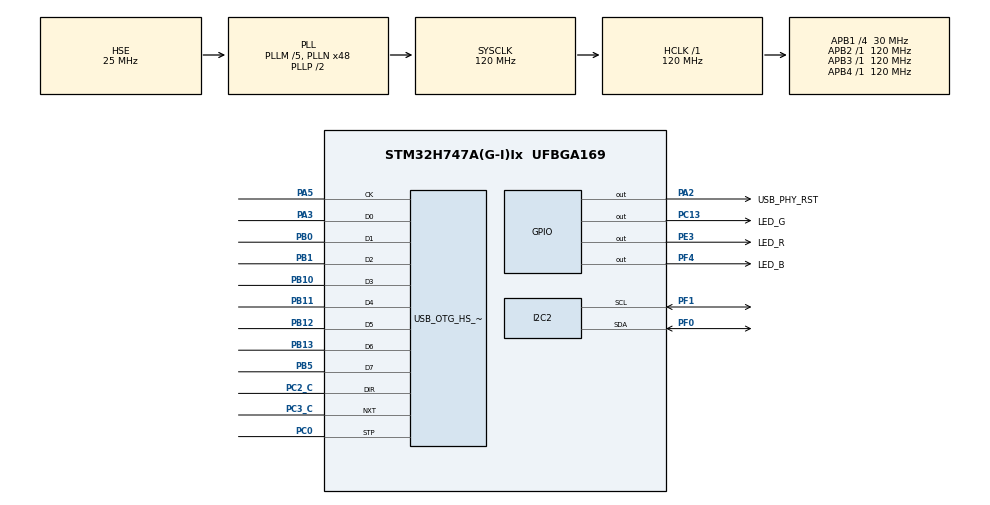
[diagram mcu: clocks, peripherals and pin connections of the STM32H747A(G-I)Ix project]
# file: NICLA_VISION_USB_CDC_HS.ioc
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CORTEX_M7.CPU_DCache=Disabled
CORTEX_M7.CPU_ICache=Disabled
CORTEX_M7.MPU_Control=__NULL
CORTEX_M7.default_mode_Activation=1
CortexM4.IPs=BDMA,CORTEX_M4\:I,DEBUG,DMA,FATFS_M4\:I,FREERTOS_M4\:I,GPIO,IWDG2\:I,MDMA,NVIC2\:I,OPENAMP_M4\:I,PDM2PCM_M4\:I,PWR,RCC,RESMGR_UTILITY,SYS_M4\:I,USB_DEVICE_M4\:I,USB_HOST_M4\:I,VREFBUF,WWDG2\:I
CortexM7.IPs=BDMA\:I,CORTEX_M7\:I,DEBUG\:I,DMA\:I,FATFS_M7\:I,FREERTOS_M7\:I,GPIO\:I,IWDG1\:I,MDMA\:I,NVIC1\:I,OPENAMP_M7\:I,PDM2PCM_M7\:I,PWR\:I,RCC\:I,RESMGR_UTILITY\:I,SYS\:I,USB_DEVICE_M7\:I,USB_HOST_M7\:I,VREFBUF\:I,WWDG1\:I,I2C2\:I,USB_OTG_HS\:I
CortexM7.Pins=PE3,PC13,PF4,PA2
I2C2.Timing=0x007074AF
Mcu.Family=STM32H7
Mcu.Name=STM32H747A(G-I)Ix
Mcu.Package=UFBGA169
NVIC1.OTG_HS_IRQn=true\:0\:0\:false\:false\:true\:false\:true\:true
NVIC1.PriorityGroup=NVIC_PRIORITYGROUP_4
NVIC2.PriorityGroup=NVIC_PRIORITYGROUP_4
PA13\ (JTMS/SWDIO).Mode=Serial_Wire
PA13\ (JTMS/SWDIO).PinAttribute=CortexM7
PA13\ (JTMS/SWDIO).Signal=DEBUG_JTMS-SWDIO
PA14\ (JTCK/SWCLK).Mode=Serial_Wire
PA14\ (JTCK/SWCLK).PinAttribute=CortexM7
PA14\ (JTCK/SWCLK).Signal=DEBUG_JTCK-SWCLK
PA2.GPIO_Label=USB_PHY_RST
PA2.GPIO_PuPd=GPIO_PULLDOWN
PA2.PinAttribute=CortexM7
PA2.PinState=GPIO_PIN_RESET
PA2.Signal=GPIO_Output
PA3.Mode=Device_HS
PA3.PinAttribute=CortexM7
PA3.Signal=USB_OTG_HS_ULPI_D0
PA5.Mode=Device_HS
PA5.PinAttribute=CortexM7
PA5.Signal=USB_OTG_HS_ULPI_CK
PB0.Mode=Device_HS
PB0.PinAttribute=CortexM7
PB0.Signal=USB_OTG_HS_ULPI_D1
PB1.Mode=Device_HS
PB1.PinAttribute=CortexM7
PB1.Signal=USB_OTG_HS_ULPI_D2
PB10.Mode=Device_HS
PB10.PinAttribute=CortexM7
PB10.Signal=USB_OTG_HS_ULPI_D3
PB11.Mode=Device_HS
PB11.PinAttribute=CortexM7
PB11.Signal=USB_OTG_HS_ULPI_D4
PB12.Mode=Device_HS
PB12.PinAttribute=CortexM7
PB12.Signal=USB_OTG_HS_ULPI_D5
PB13.Mode=Device_HS
PB13.PinAttribute=CortexM7
PB13.Signal=USB_OTG_HS_ULPI_D6
PB5.Mode=Device_HS
PB5.PinAttribute=CortexM7
PB5.Signal=USB_OTG_HS_ULPI_D7
PC0.Mode=Device_HS
PC0.PinAttribute=CortexM7
PC0.Signal=USB_OTG_HS_ULPI_STP
PC13.GPIO_Label=LED_G
PC13.PinAttribute=CortexM7
PC13.PinState=GPIO_PIN_SET
PC13.Signal=GPIO_Output
PC2_C.Mode=Device_HS
PC2_C.PinAttribute=CortexM7
PC2_C.Signal=USB_OTG_HS_ULPI_DIR
PC3_C.Mode=Device_HS
PC3_C.PinAttribute=CortexM7
PC3_C.Signal=USB_OTG_HS_ULPI_NXT
PE3.GPIO_Label=LED_R
PE3.PinAttribute=CortexM7
PE3.PinState=GPIO_PIN_SET
PE3.Signal=GPIO_Output
PF0.Mode=I2C
PF0.PinAttribute=CortexM7
PF0.Signal=I2C2_SDA
PF1.Mode=I2C
PF1.PinAttribute=CortexM7
PF1.Signal=I2C2_SCL
PF4.GPIO_Label=LED_B
PF4.PinAttribute=CortexM7
PF4.PinState=GPIO_PIN_SET
PF4.Signal=GPIO_Output
PH0-OSC_IN\ (PH0).Mode=HSE-External-Clock-Source
PH0-OSC_IN\ (PH0).PinAttribute=Free
PH0-OSC_IN\ (PH0).Signal=RCC_OSC_IN
ProjectManager.HeapSize=M4-0x200,M7-0x200
ProjectManager.StackSize=M4-0x400,M7-0x400
ProjectManager.TargetToolchain=STM32CubeIDE
RCC.ADCFreq_Value=50390625
RCC.APB1Freq_Value=30000000
RCC.APB2Freq_Value=120000000
RCC.APB3Freq_Value=120000000
RCC.APB4Freq_Value=120000000
RCC.CortexFreq_Value=120000000
RCC.D2PPRE1=RCC_APB1_DIV4
RCC.DIVM1=5
RCC.DIVN1=48
RCC.DIVQ1=5
RCC.HCLKFreq_Value=120000000
RCC.PLLFRACN=0
RCC.PLLSourceVirtual=RCC_PLLSOURCE_HSE
RCC.PWR_Regulator_Voltage_Scale=PWR_REGULATOR_VOLTAGE_SCALE0
RCC.SYSCLKFreq_VALUE=120000000
RCC.SYSCLKSource=RCC_SYSCLKSOURCE_PLLCLK
RCC.SupplySource=PWR_LDO_SUPPLY
RCC.USBFreq_Value=48000000
RCC.VDD_VALUE=1.8
SYS.userName=SYS_M7
USB_DEVICE_M7.CLASS_NAME_HS=CDC
USB_DEVICE_M7.VirtualMode-CDC_HS=Cdc
USB_DEVICE_M7.VirtualModeHS=Cdc_HS
USB_OTG_HS.DeviceSpeed-Device_HS=PCD_SPEED_FULL
USB_OTG_HS.VirtualMode-Device_HS=Device_HS
VP_SYS_M4_VS_Systick.Mode=SysTick
VP_USB_DEVICE_M7_VS_USB_DEVICE_CDC_HS.Mode=CDC_HS
board=custom

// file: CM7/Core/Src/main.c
/* USER CODE BEGIN Header */
/**
  ******************************************************************************
  * @file           : main.c
  * @brief          : Main program body
  ******************************************************************************
  * @attention
  *
  * Copyright (c) 2024 STMicroelectronics.
  * All rights reserved.
  *
  * This software is licensed under terms that can be found in the LICENSE file
  * in the root directory of this software component.
  * If no LICENSE file comes with this software, it is provided AS-IS.
  *
  ******************************************************************************
  */
/* USER CODE END Header */
#include "main.h"
#include "usb_device.h"

/* USER CODE BEGIN Includes */
#include "usbd_cdc_if.h"
/* USER CODE END Includes */

/* USER CODE BEGIN PD */

/* Start of the CM4 image in flash (must match CM4/STM32H747AIIX_FLASH.ld) */
#define CM4_IMAGE_ADDRESS    0x08100000U

#ifndef HSEM_ID_0
#define HSEM_ID_0 (0U) /* HW semaphore 0*/
#endif

/* USER CODE END PD */

I2C_HandleTypeDef hi2c2;

/* USER CODE BEGIN PV */
static uint8_t tx_buffer[1000];
/* USER CODE END PV */

void SystemClock_Config(void);
static void MX_GPIO_Init(void);
static void MX_I2C2_Init(void);
/* USER CODE BEGIN PFP */
static void tx_comusb( uint8_t *tx_buffer, uint16_t len );
static void Bootloader_Handoff(void);
static void Disable_Caches(void);
/* USER CODE END PFP */

int main(void)
{

  /* USER CODE BEGIN 1 */

  Bootloader_Handoff();

  // Release the M4 (it is held off by the option bytes), pointing it at its image
  __HAL_RCC_SYSCFG_CLK_ENABLE();
  HAL_SYSCFG_CM4BootAddConfig(SYSCFG_BOOT_ADDR0, CM4_IMAGE_ADDRESS);

  // Boot up the M4 core as is set to have it off by default using fuses
  HAL_RCCEx_EnableBootCore(RCC_BOOT_C2);

  /* USER CODE END 1 */
/* USER CODE BEGIN Boot_Mode_Sequence_0 */
  int32_t timeout;
/* USER CODE END Boot_Mode_Sequence_0 */

/* USER CODE BEGIN Boot_Mode_Sequence_1 */
  /* Wait until CPU2 boots and enters in stop mode or timeout*/
  timeout = 0xFFFF;
  while((__HAL_RCC_GET_FLAG(RCC_FLAG_D2CKRDY) != RESET) && (timeout-- > 0));
  if ( timeout < 0 )
  {
  Error_Handler();
  }
/* USER CODE END Boot_Mode_Sequence_1 */
  /* MCU Configuration--------------------------------------------------------*/

  /* Reset of all peripherals, Initializes the Flash interface and the Systick. */
  HAL_Init();

  /* USER CODE BEGIN Init */

  /* Enable the NICLA Vision oscillator pin */
  __HAL_RCC_GPIOH_CLK_ENABLE();
  GPIO_InitTypeDef  gpio_osc_init_structure;
  gpio_osc_init_structure.Pin = GPIO_PIN_1;
  gpio_osc_init_structure.Mode = GPIO_MODE_OUTPUT_PP;
  gpio_osc_init_structure.Pull = GPIO_PULLUP;
  gpio_osc_init_structure.Speed = GPIO_SPEED_FREQ_LOW;
  HAL_GPIO_Init(GPIOH, &gpio_osc_init_structure);
  HAL_Delay(10);
  HAL_GPIO_WritePin(GPIOH, GPIO_PIN_1, 1);

  /* USER CODE END Init */

  /* Configure the system clock */
  SystemClock_Config();
/* USER CODE BEGIN Boot_Mode_Sequence_2 */
/* When system initialization is finished, Cortex-M7 will release Cortex-M4 by means of
HSEM notification */
/*HW semaphore Clock enable*/
__HAL_RCC_HSEM_CLK_ENABLE();
/*Take HSEM */
HAL_HSEM_FastTake(HSEM_ID_0);
/*Release HSEM in order to notify the CPU2(CM4)*/
HAL_HSEM_Release(HSEM_ID_0,0);
/* wait until CPU2 wakes up from stop mode */
timeout = 0xFFFF;
while((__HAL_RCC_GET_FLAG(RCC_FLAG_D2CKRDY) == RESET) && (timeout-- > 0));
if ( timeout < 0 )
{
Error_Handler();
}
/* USER CODE END Boot_Mode_Sequence_2 */

  /* Initialize all configured peripherals */
  MX_GPIO_Init();
  MX_I2C2_Init();
  //MX_USB_DEVICE_Init();
  /* USER CODE BEGIN 2 */

  /* Setup power supply rails
   * This part enables all required rails on the power management module via I2C*/
  uint8_t data[2];

  // Charger LED Driver Enable controlled via software
  data[0]=0x9c;
  data[1]=0x80;
  HAL_I2C_Master_Transmit(&hi2c2, 0x08 << 1, data, sizeof(data), 100);

  // Charger LED Driver Enable controlled via software
  data[0]=0x9e;
  data[1]=0x20;
  HAL_I2C_Master_Transmit(&hi2c2, 0x08 << 1, data, sizeof(data), 100);

  // SW3 current limit at 1.5A
  data[0]=0x42;
  data[1]=0x02;
  HAL_I2C_Master_Transmit(&hi2c2, 0x08 << 1, data, sizeof(data), 100);

  // VBUS current limit at 1.5A
  data[0]=0x94;
  data[1]=0xa0;
  HAL_I2C_Master_Transmit(&hi2c2, 0x08 << 1, data, sizeof(data), 100);

  // LDO1
  data[0] = 0x4d;
  data[1] = 0x01;
  HAL_I2C_Master_Transmit(&hi2c2, 0x08 << 1, data, sizeof(data), 100);

  // LDO2
  data[0] = 0x50;
  data[1] = 0x01;
  HAL_I2C_Master_Transmit(&hi2c2, 0x08 << 1, data, sizeof(data), 100);

  // LDO3 to 1.2V
  data[0] = 0x53;
  data[1] = 0x01;
  HAL_I2C_Master_Transmit(&hi2c2, 0x08 << 1, data, sizeof(data), 100);

  // SW2
  data[0] = 0x3b;
  data[1] = 0x81;
  HAL_I2C_Master_Transmit(&hi2c2, 0x08 << 1, data, sizeof(data),100);

  // wait for the power lines to settle
  HAL_Delay(250);

  /* Enable USB PHY pin */
  HAL_GPIO_WritePin(USB_PHY_RST_GPIO_Port, USB_PHY_RST_Pin, SET);

  HAL_Delay(20);

  // Must be called only after 3.1V power supply has settled and the PA_2 is pulled high
  MX_USB_DEVICE_Init();

  /* USER CODE END 2 */

  /* Infinite loop */
  while (1)
  {

    /* USER CODE BEGIN 3 */
	sprintf((char *)tx_buffer, "Device Found! \r\n");
	tx_comusb(tx_buffer, strlen((char const *)tx_buffer));
	HAL_GPIO_TogglePin(LED_G_GPIO_Port, LED_G_Pin);
	HAL_Delay(1000);
  }
  /* USER CODE END 3 */
}

void SystemClock_Config(void)
{
  RCC_OscInitTypeDef RCC_OscInitStruct = {0};
  RCC_ClkInitTypeDef RCC_ClkInitStruct = {0};

  /** Supply configuration update enable
  */
  HAL_PWREx_ConfigSupply(PWR_LDO_SUPPLY);

  /** Configure the main internal regulator output voltage
  */
  __HAL_PWR_VOLTAGESCALING_CONFIG(PWR_REGULATOR_VOLTAGE_SCALE1);

  while(!__HAL_PWR_GET_FLAG(PWR_FLAG_VOSRDY)) {}

  __HAL_RCC_SYSCFG_CLK_ENABLE();
  __HAL_PWR_VOLTAGESCALING_CONFIG(PWR_REGULATOR_VOLTAGE_SCALE0);

  while(!__HAL_PWR_GET_FLAG(PWR_FLAG_VOSRDY)) {}

  /** Initializes the RCC Oscillators according to the specified parameters
  * in the RCC_OscInitTypeDef structure.
  */
  RCC_OscInitStruct.OscillatorType = RCC_OSCILLATORTYPE_HSE;
  RCC_OscInitStruct.HSEState = RCC_HSE_BYPASS;
  RCC_OscInitStruct.PLL.PLLState = RCC_PLL_ON;
  RCC_OscInitStruct.PLL.PLLSource = RCC_PLLSOURCE_HSE;
  RCC_OscInitStruct.PLL.PLLM = 5;
  RCC_OscInitStruct.PLL.PLLN = 48;
  RCC_OscInitStruct.PLL.PLLP = 2;
  RCC_OscInitStruct.PLL.PLLQ = 5;
  RCC_OscInitStruct.PLL.PLLR = 2;
  RCC_OscInitStruct.PLL.PLLRGE = RCC_PLL1VCIRANGE_2;
  RCC_OscInitStruct.PLL.PLLVCOSEL = RCC_PLL1VCOWIDE;
  RCC_OscInitStruct.PLL.PLLFRACN = 0;
  if (HAL_RCC_OscConfig(&RCC_OscInitStruct) != HAL_OK)
  {
    Error_Handler();
  }

  /** Initializes the CPU, AHB and APB buses clocks
  */
  RCC_ClkInitStruct.ClockType = RCC_CLOCKTYPE_HCLK|RCC_CLOCKTYPE_SYSCLK
                              |RCC_CLOCKTYPE_PCLK1|RCC_CLOCKTYPE_PCLK2
                              |RCC_CLOCKTYPE_D3PCLK1|RCC_CLOCKTYPE_D1PCLK1;
  RCC_ClkInitStruct.SYSCLKSource = RCC_SYSCLKSOURCE_PLLCLK;
  RCC_ClkInitStruct.SYSCLKDivider = RCC_SYSCLK_DIV1;
  RCC_ClkInitStruct.AHBCLKDivider = RCC_HCLK_DIV1;
  RCC_ClkInitStruct.APB3CLKDivider = RCC_APB3_DIV1;
  RCC_ClkInitStruct.APB1CLKDivider = RCC_APB1_DIV4;
  RCC_ClkInitStruct.APB2CLKDivider = RCC_APB2_DIV1;
  RCC_ClkInitStruct.APB4CLKDivider = RCC_APB4_DIV1;

  if (HAL_RCC_ClockConfig(&RCC_ClkInitStruct, FLASH_LATENCY_1) != HAL_OK)
  {
    Error_Handler();
  }
}

static void MX_I2C2_Init(void)
{

  hi2c2.Instance = I2C2;
  hi2c2.Init.Timing = 0x007074AF;
  hi2c2.Init.OwnAddress1 = 0;
  hi2c2.Init.AddressingMode = I2C_ADDRESSINGMODE_7BIT;
  hi2c2.Init.DualAddressMode = I2C_DUALADDRESS_DISABLE;
  hi2c2.Init.OwnAddress2 = 0;
  hi2c2.Init.OwnAddress2Masks = I2C_OA2_NOMASK;
  hi2c2.Init.GeneralCallMode = I2C_GENERALCALL_DISABLE;
  hi2c2.Init.NoStretchMode = I2C_NOSTRETCH_DISABLE;
  if (HAL_I2C_Init(&hi2c2) != HAL_OK)
  {
    Error_Handler();
  }

  /** Configure Analogue filter
  */
  if (HAL_I2CEx_ConfigAnalogFilter(&hi2c2, I2C_ANALOGFILTER_ENABLE) != HAL_OK)
  {
    Error_Handler();
  }

  /** Configure Digital filter
  */
  if (HAL_I2CEx_ConfigDigitalFilter(&hi2c2, 0) != HAL_OK)
  {
    Error_Handler();
  }

}

static void MX_GPIO_Init(void)
{
  GPIO_InitTypeDef GPIO_InitStruct = {0};

  /* GPIO Ports Clock Enable */
  __HAL_RCC_GPIOB_CLK_ENABLE();
  __HAL_RCC_GPIOA_CLK_ENABLE();
  __HAL_RCC_GPIOE_CLK_ENABLE();
  __HAL_RCC_GPIOC_CLK_ENABLE();
  __HAL_RCC_GPIOF_CLK_ENABLE();

  /*Configure GPIO pin Output Level */
  HAL_GPIO_WritePin(LED_R_GPIO_Port, LED_R_Pin, GPIO_PIN_SET);

  /*Configure GPIO pin Output Level */
  HAL_GPIO_WritePin(LED_G_GPIO_Port, LED_G_Pin, GPIO_PIN_SET);

  /*Configure GPIO pin Output Level */
  HAL_GPIO_WritePin(LED_B_GPIO_Port, LED_B_Pin, GPIO_PIN_SET);

  /*Configure GPIO pin Output Level */
  HAL_GPIO_WritePin(USB_PHY_RST_GPIO_Port, USB_PHY_RST_Pin, GPIO_PIN_RESET);

  /*Configure GPIO pin : LED_R_Pin */
  GPIO_InitStruct.Pin = LED_R_Pin;
  GPIO_InitStruct.Mode = GPIO_MODE_OUTPUT_PP;
  GPIO_InitStruct.Pull = GPIO_NOPULL;
  GPIO_InitStruct.Speed = GPIO_SPEED_FREQ_LOW;
  HAL_GPIO_Init(LED_R_GPIO_Port, &GPIO_InitStruct);

  /*Configure GPIO pin : LED_G_Pin */
  GPIO_InitStruct.Pin = LED_G_Pin;
  GPIO_InitStruct.Mode = GPIO_MODE_OUTPUT_PP;
  GPIO_InitStruct.Pull = GPIO_NOPULL;
  GPIO_InitStruct.Speed = GPIO_SPEED_FREQ_LOW;
  HAL_GPIO_Init(LED_G_GPIO_Port, &GPIO_InitStruct);

  /*Configure GPIO pin : LED_B_Pin */
  GPIO_InitStruct.Pin = LED_B_Pin;
  GPIO_InitStruct.Mode = GPIO_MODE_OUTPUT_PP;
  GPIO_InitStruct.Pull = GPIO_NOPULL;
  GPIO_InitStruct.Speed = GPIO_SPEED_FREQ_LOW;
  HAL_GPIO_Init(LED_B_GPIO_Port, &GPIO_InitStruct);

  /*Configure GPIO pin : USB_PHY_RST_Pin */
  GPIO_InitStruct.Pin = USB_PHY_RST_Pin;
  GPIO_InitStruct.Mode = GPIO_MODE_OUTPUT_PP;
  GPIO_InitStruct.Pull = GPIO_PULLDOWN;
  GPIO_InitStruct.Speed = GPIO_SPEED_FREQ_LOW;
  HAL_GPIO_Init(USB_PHY_RST_GPIO_Port, &GPIO_InitStruct);

}

/* USER CODE BEGIN 4 */

/*
 * Built with -O2 on purpose: CMSIS 5.1.1 SCB_DisableDCache() disables the
 * cache before cleaning it, so at -O0 its loop counters live on the (cached)
 * stack, get read back stale from RAM and the loop never ends.
 */
__attribute__((optimize("O2"))) static void Disable_Caches(void)
{
  SCB_DisableICache();
  SCB_DisableDCache();
}

/*
 * The bootloader jumps here without a reset. Put VTOR, NVIC, caches, MPU and
 * the RCC peripheral resets / clock enables back to their power-on state.
 */
static void Bootloader_Handoff(void)
{
  extern uint32_t g_pfnVectors[];

  __disable_irq();

  /* Our own vector table, wherever we were linked */
  SCB->VTOR = (uint32_t)g_pfnVectors;
  __DSB();
  __ISB();

  /* No interrupts left over from the bootloader */
  SysTick->CTRL = 0;
  for (uint32_t i = 0; i < 8; i++)
  {
    NVIC->ICER[i] = 0xFFFFFFFFU;
    NVIC->ICPR[i] = 0xFFFFFFFFU;
  }

  /* Caches off and MPU off, as after reset */
  Disable_Caches();
  HAL_MPU_Disable();

  /* Reset every peripheral the bootloader may have used */
  __HAL_RCC_AHB1_FORCE_RESET();
  __HAL_RCC_AHB2_FORCE_RESET();
  __HAL_RCC_AHB3_FORCE_RESET();
  __HAL_RCC_AHB4_FORCE_RESET();
  __HAL_RCC_APB1L_FORCE_RESET();
  __HAL_RCC_APB1H_FORCE_RESET();
  __HAL_RCC_APB2_FORCE_RESET();
  __HAL_RCC_APB3_FORCE_RESET();
  __HAL_RCC_APB4_FORCE_RESET();
  __HAL_RCC_AHB1_RELEASE_RESET();
  __HAL_RCC_AHB2_RELEASE_RESET();
  __HAL_RCC_AHB3_RELEASE_RESET();
  __HAL_RCC_AHB4_RELEASE_RESET();
  __HAL_RCC_APB1L_RELEASE_RESET();
  __HAL_RCC_APB1H_RELEASE_RESET();
  __HAL_RCC_APB2_RELEASE_RESET();
  __HAL_RCC_APB3_RELEASE_RESET();
  __HAL_RCC_APB4_RELEASE_RESET();

  /* Give up CM7's clock enables so D2 can go to STOP.
   * AHB3ENR also holds the FLASH/TCM/AXI SRAM bits: only touch peripherals. */
  RCC->AHB1ENR  = 0;
  RCC->AHB2ENR  = 0;
  RCC->AHB3ENR &= ~(RCC_AHB3ENR_MDMAEN | RCC_AHB3ENR_DMA2DEN | RCC_AHB3ENR_JPGDECEN |
                    RCC_AHB3ENR_FMCEN | RCC_AHB3ENR_QSPIEN | RCC_AHB3ENR_SDMMC1EN);
  RCC->AHB4ENR  = 0;
  RCC->APB1LENR = 0;
  RCC->APB1HENR = 0;
  RCC->APB2ENR  = 0;
  RCC->APB3ENR  = 0;
  RCC->APB4ENR  = RCC_APB4ENR_RTCAPBEN;
  __DSB();

  __enable_irq();
}

static void tx_comusb(uint8_t *tx_buffer, uint16_t len)
{
  CDC_Transmit_HS(tx_buffer, len);
}

/*
 * @brief  Reboot into the Arduino bootloader (DFU mode)
 *
 * Called on the "1200 baud touch" (see usbd_cdc_if.c), so tools/upload.ps1 can
 * flash the board without a double-tap on reset. The bootloader stays in DFU
 * mode instead of starting the application when it finds 0xDF59 in RTC->BKP0R.
 */
void Enter_Arduino_Bootloader(void)
{
  __disable_irq();

  HAL_PWR_EnableBkUpAccess();
  __HAL_RCC_RTC_CLK_ENABLE();
  RTC->BKP0R = ARDUINO_BOOTLOADER_MAGIC;
  __DSB();

  NVIC_SystemReset();
}
/* USER CODE END 4 */

void Error_Handler(void)
{
  __disable_irq();
  while (1)
  {
  }
}
